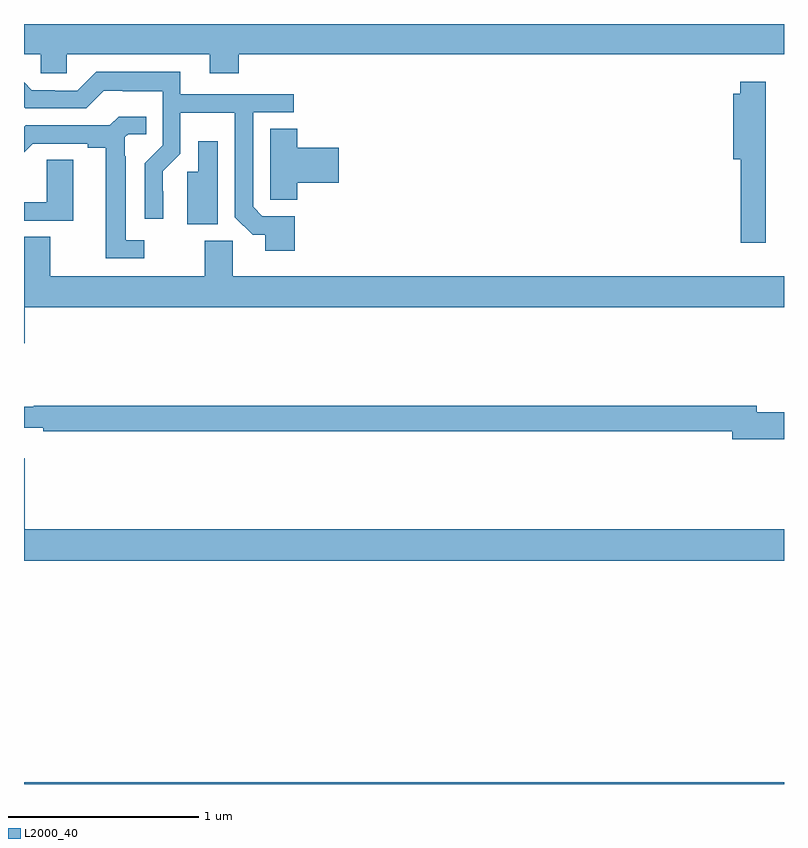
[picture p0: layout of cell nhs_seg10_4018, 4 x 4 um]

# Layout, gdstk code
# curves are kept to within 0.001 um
import gdstk
lib = gdstk.Library(unit=1e-6, precision=1e-09)
def R(c, l, rs):  # rectangles x0, y0, x1, y1
    for r in rs: c.add(gdstk.rectangle(r[:2], r[2:], *l))
def P(c, l, *ps):  # polygons
    for p in ps: c.add(gdstk.Polygon(p, *l))
L2000_40 = (2000, 40)

nhs_seg10_4018 = lib.new_cell('nhs_seg10_4018')
R(nhs_seg10_4018, L2000_40, [(333,1272.5,337,1272.508)])
P(nhs_seg10_4018, L2000_40, [(334.13,1276.34),(337,1276.34),(337,1276.5),(333,1276.5),(333,1276.34),(333.087,1276.34),(333.087,1276.242),(333.225,1276.242),(333.225,1276.34),(333.977,1276.34),(333.977,1276.241),(334.13,1276.241)],
  [(334.424,1275.489),(334.254,1275.489),(334.206,1275.537),(334.206,1276.035),(334.42,1276.035),(334.42,1276.131),(333.823,1276.131),(333.823,1276.249),(333.379,1276.249),(333.279,1276.149),(333.162,1276.149),(333.162,1276.152),(333.042,1276.152),(333,1276.194),(333,1276.062),(333.006,1276.056),(333.327,1276.056),(333.42,1276.149),(333.52,1276.149),(333.52,1276.145),(333.729,1276.145),(333.729,1275.861),(333.636,1275.768),(333.636,1275.474),(333.732,1275.474),(333.731,1275.726),(333.822,1275.818),(333.822,1276.034),(334.11,1276.034),(334.11,1275.483),(334.203,1275.391),(334.271,1275.391),(334.271,1275.306),(334.424,1275.306)],
  [(336.904,1276.195),(336.77,1276.195),(336.77,1276.132),(336.734,1276.132),(336.734,1275.788),(336.773,1275.788),(336.773,1275.348),(336.904,1275.348)],
  [(333.634,1275.363),(333.535,1275.363),(333.535,1275.803),(333.531,1275.803),(333.531,1275.903),(333.549,1275.921),(333.644,1275.921),(333.644,1276.013),(333.498,1276.013),(333.45,1275.966),(333.008,1275.966),(333,1275.958),(333,1275.824),(333.046,1275.87),(333.335,1275.87),(333.335,1275.85),(333.431,1275.85),(333.431,1275.267),(333.634,1275.267)],
  [(334.439,1275.665),(334.657,1275.665),(334.657,1275.848),(334.439,1275.848),(334.439,1275.95),(334.295,1275.95),(334.295,1275.682),(334.296,1275.682),(334.296,1275.574),(334.439,1275.574)],
  [(334.021,1275.883),(333.917,1275.883),(333.917,1275.723),(333.86,1275.723),(333.86,1275.445),(334.021,1275.445)],
  [(333.259,1275.785),(333.12,1275.785),(333.12,1275.561),(333,1275.561),(333,1275.465),(333.259,1275.465)],
  [(333.004,1275.008),(337,1275.008),(337,1275.172),(334.098,1275.172),(334.098,1275.36),(333.952,1275.36),(333.952,1275.172),(333.139,1275.172),(333.139,1275.38),(333,1275.38),(333,1274.82),(333.004,1274.82)],
  [(337,1274.456),(336.856,1274.456),(336.856,1274.492),(333.052,1274.492),(333.052,1274.485),(333,1274.485),(333,1274.375),(333.1,1274.375),(333.1,1274.356),(336.728,1274.356),(336.728,1274.314),(337,1274.314)],
  [(337,1273.84),(333.004,1273.84),(333.004,1274.215),(333,1274.215),(333,1273.676),(337,1273.676)])

lib.write_gds('nhs_seg10_4018.gds')
